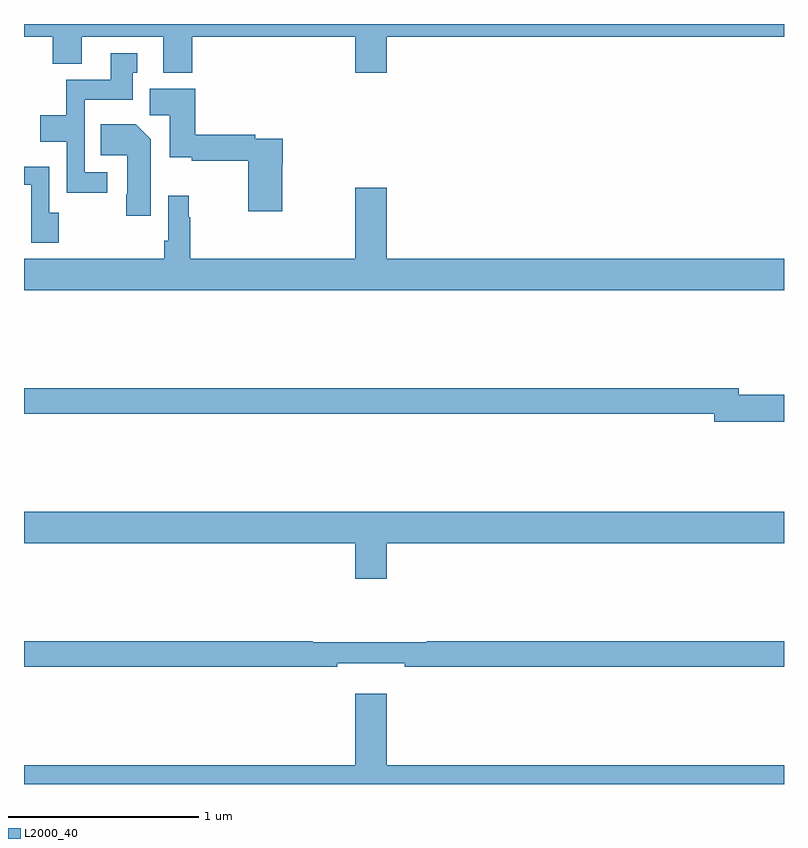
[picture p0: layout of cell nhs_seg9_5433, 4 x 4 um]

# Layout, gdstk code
import gdstk
lib = gdstk.Library(unit=1e-6, precision=1e-09)
def P(c, l, *ps):  # polygons
    for p in ps: c.add(gdstk.Polygon(p, *l))
L2000_40 = (2000, 40)

nhs_seg9_5433 = lib.new_cell('nhs_seg9_5433')
P(nhs_seg9_5433, L2000_40, [(427.886,1184.432),(428.744,1184.432),(428.744,1184.244),(428.908,1184.244),(428.908,1184.432),(431,1184.432),(431,1184.5),(427,1184.5),(427,1184.432),(427.151,1184.432),(427.151,1184.291),(427.303,1184.291),(427.303,1184.432),(427.733,1184.432),(427.733,1184.243),(427.886,1184.243)],
  [(427.438,1183.719),(427.32,1183.719),(427.32,1184.102),(427.573,1184.102),(427.573,1184.244),(427.597,1184.244),(427.597,1184.347),(427.457,1184.347),(427.457,1184.206),(427.222,1184.206),(427.222,1184.02),(427.085,1184.02),(427.085,1183.88),(427.224,1183.88),(427.224,1183.611),(427.438,1183.611)],
  [(428.358,1183.763),(428.363,1183.763),(428.363,1183.896),(428.216,1183.896),(428.216,1183.916),(427.901,1183.916),(427.901,1184.158),(427.661,1184.158),(427.661,1184.02),(427.766,1184.02),(427.766,1183.799),(427.882,1183.799),(427.882,1183.78),(428.18,1183.78),(428.18,1183.515),(428.358,1183.515)],
  [(427.666,1183.894),(427.588,1183.972),(427.405,1183.972),(427.405,1183.808),(427.544,1183.808),(427.544,1183.603),(427.537,1183.603),(427.537,1183.491),(427.666,1183.491)],
  [(427.182,1183.506),(427.134,1183.506),(427.134,1183.75),(427,1183.75),(427,1183.653),(427.038,1183.653),(427.038,1183.35),(427.182,1183.35)],
  [(431,1183.264),(428.908,1183.264),(428.908,1183.639),(428.744,1183.639),(428.744,1183.264),(427.874,1183.264),(427.874,1183.484),(427.867,1183.484),(427.867,1183.597),(427.758,1183.597),(427.758,1183.36),(427.738,1183.36),(427.738,1183.264),(427,1183.264),(427,1183.1),(431,1183.1)],
  [(431,1182.548),(430.762,1182.548),(430.762,1182.584),(427,1182.584),(427,1182.448),(430.634,1182.448),(430.634,1182.406),(431,1182.406)],
  [(428.908,1181.768),(431,1181.768),(431,1181.932),(427,1181.932),(427,1181.768),(428.744,1181.768),(428.744,1181.58),(428.908,1181.58)],
  [(428.648,1181.135),(429.004,1181.135),(429.004,1181.116),(431,1181.116),(431,1181.252),(429.119,1181.252),(429.119,1181.245),(428.519,1181.245),(428.519,1181.252),(427,1181.252),(427,1181.116),(428.648,1181.116)],
  [(431,1180.6),(428.908,1180.6),(428.908,1180.975),(428.744,1180.975),(428.744,1180.6),(427,1180.6),(427,1180.5),(431,1180.5)])

lib.write_gds('nhs_seg9_5433.gds')
